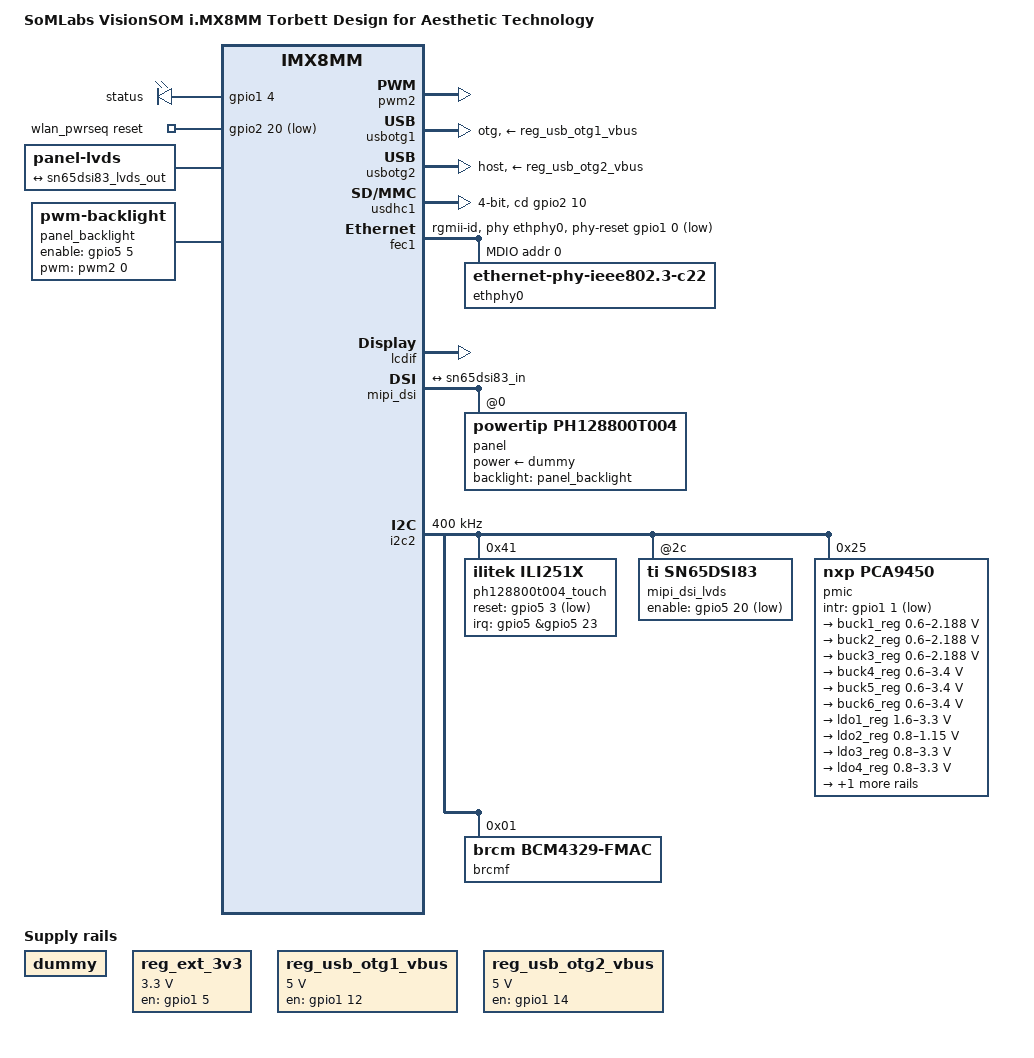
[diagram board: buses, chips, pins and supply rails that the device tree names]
// SPDX-License-Identifier: GPL-2.0-or-later
/*
 * Copyright 2020 SomLabs
 *
 */

/dts-v1/;

#include "imx8mm.dtsi"

/ {

    model = "SoMLabs VisionSOM i.MX8MM Torbett Design for Aesthetic Technology";

 /* dummy regulator for simple-panel driver */
    dummy: regulator-dummy {
        compatible = "regulator-fixed";
        regulator-name = "dummy";
        regulator-always-on;
    };

    reserved-memory {
        #address-cells = <2>;
        #size-cells = <2>;
        ranges;

        rpmsg_reserved: rpmsg@0xb8000000 {
            no-map;
            reg = <0 0xb8000000 0 0x400000>;
        };
    };

    chosen {
        bootargs = "console=ttymxc3,115200 earlycon=ec_imx6q,0x30a60000,115200";
        stdout-path = &uart4;
    };

    leds {      /* dedicated led for system status */
        compatible = "gpio-leds";
        pinctrl-names = "default";
        pinctrl-0 = <&pinctrl_gpio_led>;

        status {
            label = "status";
            gpios = <&gpio1 4 0>;
            linux,default-trigger = "heartbeat";
        };
    };

    wlan_pwrseq: wlanpwrseq {
        compatible = "mmc-pwrseq-simple";
        pinctrl-names = "default";
        pinctrl-0 = <&pinctrl_wlan_en>;
        reset-gpios = <&gpio2 20 GPIO_ACTIVE_LOW>;
    };

    regulators {
        compatible = "simple-bus";
        #address-cells = <1>;
        #size-cells = <0>;

        reg_ext_3v3: regulator-ext-3v3 {
            compatible = "regulator-fixed";
            regulator-name = "EXT_PWREN";
            regulator-min-microvolt = <3300000>;
            regulator-max-microvolt = <3300000>;
            enable-active-high;
            startup-delay-us = <300000>;
            gpio = <&gpio1 5 GPIO_ACTIVE_HIGH>;
        };

    };

    panel: panel {
		compatible = "panel-lvds";

		height-mm = <136>;
		width-mm = <217>;

		data-mapping = "vesa-24";

		panel-timing {
			clock-frequency = <75000000>;
			hactive = <1280>;
			vactive = <800>;
			hback-porch = <40>;
			hfront-porch = <40>;
			hsync-len = <48>;
			vback-porch = <29>;
			vfront-porch = <13>;
			vsync-len = <3>;
		};

        port {
            lvds_panel_in: endpoint {
                remote-endpoint = <&sn65dsi83_lvds_out>;
            };
        };
    };

    reg_usb_otg1_vbus: regulator@2 {
        compatible = "regulator-fixed";
        pinctrl-names = "default";
        pinctrl-0 = <&pinctrl_usb_otg1>;
        regulator-name = "usb_otg1_vbus";
        regulator-min-microvolt = <5000000>;
        regulator-max-microvolt = <5000000>;
        gpio = <&gpio1 12 GPIO_ACTIVE_HIGH>;
        enable-active-high;
    };

    reg_usb_otg2_vbus: regulator@3 {
        compatible = "regulator-fixed";
        pinctrl-names = "default";
        pinctrl-0 = <&pinctrl_usb_otg2>;
        regulator-name = "usb_otg2_vbus";
        regulator-min-microvolt = <5000000>;
        regulator-max-microvolt = <5000000>;
        gpio = <&gpio1 14 GPIO_ACTIVE_HIGH>;
        enable-active-high;
    };

    panel_backlight: panel-backlight {
        compatible = "pwm-backlight";
        pinctrl-names = "default";
        pinctrl-0 = <&pinctrl_panel_backlight_en>;
        pwms = <&pwm2 0 25000 0>;

        brightness-levels = < 0  1  2  3  4  5  6  7  8  9
                             10 11 12 13 14 15 16 17 18 19
                             20 21 22 23 24 25 26 27 28 29
                             30 31 32 33 34 35 36 37 38 39
                             40 41 42 43 44 45 46 47 48 49
                             50 51 52 53 54 55 56 57 58 59
                             60 61 62 63 64 65 66 67 68 69
                             70 71 72 73 74 75 76 77 78 79
                             80 81 82 83 84 85 86 87 88 89
                             90 91 92 93 94 95 96 97 98 99
                             100>;
        default-brightness-level = <80>;

        enable-gpios = <&gpio5 5 0>;
    };

};

&pwm2 {
    pinctrl-names = "default";
    pinctrl-0 = <&pinctrl_panel_backlight_pwm>;
    status = "okay";
};


&iomuxc {

    pinctrl_mipi2lvds_std: mipi2lvds {
        fsl,pins = <
            MX8MM_IOMUXC_SAI3_RXFS_GPIO4_IO28       0x19        /* enable */
        >;
    };

  pinctrl_usb_otg1: usbotg1 {
        fsl,pins = <
            MX8MM_IOMUXC_GPIO1_IO12_GPIO1_IO12              0x19
            MX8MM_IOMUXC_GPIO1_IO13_GPIO1_IO13              0x1c4   /* overcurrent */
        >;
    };

    pinctrl_usb_otg2: usbotg2 {
        fsl,pins = <
            MX8MM_IOMUXC_GPIO1_IO14_GPIO1_IO14              0x19
            MX8MM_IOMUXC_GPIO1_IO15_GPIO1_IO15              0x1c4   /* overcurrent */
        >;
    };

    pinctrl_gpio_leds_cb: gpioledscb {          /* 4x LEDs on  carrier board */
        fsl,pins = <
            MX8MM_IOMUXC_SAI1_RXD2_GPIO4_IO4                0x19
            MX8MM_IOMUXC_SAI1_RXD3_GPIO4_IO5                0x19
            MX8MM_IOMUXC_SAI1_RXD4_GPIO4_IO6                0x19
            MX8MM_IOMUXC_SAI1_RXD5_GPIO4_IO7                0x19
        >;
    };

    pinctrl_gpio_buttons_cb: gpiobuttonscb {      /* 4x buttons on  carrier board */
        fsl,pins = <
            MX8MM_IOMUXC_SAI1_RXFS_GPIO4_IO0                0x19
            MX8MM_IOMUXC_SAI1_RXC_GPIO4_IO1                 0x19
            MX8MM_IOMUXC_SAI1_RXD0_GPIO4_IO2                0x19
            MX8MM_IOMUXC_SAI1_RXD1_GPIO4_IO3                0x19
        >;
    };

    pinctrl_fec1: fec1grp {                       /* ethernet phy */
        fsl,pins = <
            MX8MM_IOMUXC_ENET_MDC_ENET1_MDC                 0x3
            MX8MM_IOMUXC_ENET_MDIO_ENET1_MDIO               0x3
            MX8MM_IOMUXC_ENET_TD3_ENET1_RGMII_TD3           0x1f
            MX8MM_IOMUXC_ENET_TD2_ENET1_RGMII_TD2           0x1f
            MX8MM_IOMUXC_ENET_TD1_ENET1_RGMII_TD1           0x1f
            MX8MM_IOMUXC_ENET_TD0_ENET1_RGMII_TD0           0x1f
            MX8MM_IOMUXC_ENET_RD3_ENET1_RGMII_RD3           0x91
            MX8MM_IOMUXC_ENET_RD2_ENET1_RGMII_RD2           0x91
            MX8MM_IOMUXC_ENET_RD1_ENET1_RGMII_RD1           0x91
            MX8MM_IOMUXC_ENET_RD0_ENET1_RGMII_RD0           0x91
            MX8MM_IOMUXC_ENET_TXC_ENET1_RGMII_TXC           0x1f
            MX8MM_IOMUXC_ENET_RXC_ENET1_RGMII_RXC           0x91
            MX8MM_IOMUXC_ENET_RX_CTL_ENET1_RGMII_RX_CTL     0x91
            MX8MM_IOMUXC_ENET_TX_CTL_ENET1_RGMII_TX_CTL     0x1f
            MX8MM_IOMUXC_GPIO1_IO00_GPIO1_IO0               0x19    /* PHY reset */
        >;
    };

    pinctrl_usdhc1_gpio: usdhc1grpgpio {
        fsl,pins = <
            MX8MM_IOMUXC_SD1_RESET_B_GPIO2_IO10             0x84
            MX8MM_IOMUXC_GPIO1_IO03_GPIO1_IO3               0x41
        >;
    };

    pinctrl_usdhc1: usdhc1grp {
        fsl,pins = <
            MX8MM_IOMUXC_SD1_CLK_USDHC1_CLK                 0x96
            MX8MM_IOMUXC_SD1_CMD_USDHC1_CMD                 0xd6
            MX8MM_IOMUXC_SD1_DATA0_USDHC1_DATA0             0xd6
            MX8MM_IOMUXC_SD1_DATA1_USDHC1_DATA1             0xd6
            MX8MM_IOMUXC_SD1_DATA2_USDHC1_DATA2             0xd6
            MX8MM_IOMUXC_SD1_DATA3_USDHC1_DATA3             0xd6
        >;
    };

    pinctrl_usdhc1_100mhz: usdhc1grp100mhz {
        fsl,pins = <
            MX8MM_IOMUXC_SD1_CLK_USDHC1_CLK                 0x94
            MX8MM_IOMUXC_SD1_CMD_USDHC1_CMD                 0xd4
            MX8MM_IOMUXC_SD1_DATA0_USDHC1_DATA0             0xd4
            MX8MM_IOMUXC_SD1_DATA1_USDHC1_DATA1             0xd4
            MX8MM_IOMUXC_SD1_DATA2_USDHC1_DATA2             0xd4
            MX8MM_IOMUXC_SD1_DATA3_USDHC1_DATA3             0xd4
        >;
    };

    pinctrl_usdhc1_200mhz: usdhc1grp200mhz {
        fsl,pins = <
            MX8MM_IOMUXC_SD1_CLK_USDHC1_CLK                 0x96
            MX8MM_IOMUXC_SD1_CMD_USDHC1_CMD                 0xd6
            MX8MM_IOMUXC_SD1_DATA0_USDHC1_DATA0             0xd6
            MX8MM_IOMUXC_SD1_DATA1_USDHC1_DATA1             0xd6
            MX8MM_IOMUXC_SD1_DATA2_USDHC1_DATA2             0xd6
            MX8MM_IOMUXC_SD1_DATA3_USDHC1_DATA3             0xd6
        >;
    };

    pinctrl_i2c1: i2c1grp {
        fsl,pins = <
            MX8MM_IOMUXC_I2C1_SCL_I2C1_SCL                  0x40000083
            MX8MM_IOMUXC_I2C1_SDA_I2C1_SDA                  0x40000083
        >;
        };

    pinctrl_i2c2: i2c2grp {
        fsl,pins = <
            MX8MM_IOMUXC_I2C2_SCL_I2C2_SCL                  0x40000083
            MX8MM_IOMUXC_I2C2_SDA_I2C2_SDA                  0x40000083
        >;
    };

    pinctrl_i2c2_gpio: i2c2grp-gpio {
        fsl,pins = <
            MX8MM_IOMUXC_I2C2_SCL_GPIO5_IO16                0x083
            MX8MM_IOMUXC_I2C2_SDA_GPIO5_IO17                0x083
        >;
   };

      pinctrl_gpio_led: gpioledgrp {          /* dedicated sys-led output */
        fsl,pins = <
            MX8MM_IOMUXC_GPIO1_IO04_GPIO1_IO4       0x19
        >;
    };

    pinctrl_i2c4: i2c4grp {                 /* PMIC I2C */
        fsl,pins = <
            MX8MM_IOMUXC_I2C4_SCL_I2C4_SCL          0x400000c3
            MX8MM_IOMUXC_I2C4_SDA_I2C4_SDA          0x400000c3
        >;
    };

    pinctrl_i2c4_gpio: i2c4grp-gpio {       /* PMIC I2C in GPIO mode */
        fsl,pins = <
            MX8MM_IOMUXC_I2C4_SCL_GPIO5_IO20        0xc3
            MX8MM_IOMUXC_I2C4_SDA_GPIO5_IO21        0xc3
        >;
    };

    pinctrl_pmic: pmicirq {                 /* PMIC interrupt */
        fsl,pins = <
            MX8MM_IOMUXC_GPIO1_IO01_GPIO1_IO1       0x141
        >;
    };

    pinctrl_uart2: uart2grp {
        fsl,pins = <
            MX8MM_IOMUXC_UART2_RXD_UART2_DCE_RX     0
            MX8MM_IOMUXC_UART2_TXD_UART2_DCE_TX     0
        >;
    };

    pinctrl_uart4: uart4grp {
        fsl,pins = <
            MX8MM_IOMUXC_UART4_RXD_UART4_DCE_RX     0
            MX8MM_IOMUXC_UART4_TXD_UART4_DCE_TX     0
        >;
    };

    pinctrl_wlan_en: wlanen {               /* WLAN enable */
        fsl,pins = <
            MX8MM_IOMUXC_SD2_WP_GPIO2_IO20          0x100
        >;
    };

    pinctrl_usdhc2: usdhc2grp {             /* WLAN - USDHC2 */
        fsl,pins = <
            MX8MM_IOMUXC_SD2_CLK_USDHC2_CLK         0x190
            MX8MM_IOMUXC_SD2_CMD_USDHC2_CMD         0x1d0
            MX8MM_IOMUXC_SD2_DATA0_USDHC2_DATA0     0x1d0
            MX8MM_IOMUXC_SD2_DATA1_USDHC2_DATA1     0x1d0
            MX8MM_IOMUXC_SD2_DATA2_USDHC2_DATA2     0x1d0
            MX8MM_IOMUXC_SD2_DATA3_USDHC2_DATA3     0x1d0
        >;
    };

    pinctrl_usdhc2_100mhz: usdhc2grp100mhz {
        fsl,pins = <
            MX8MM_IOMUXC_SD2_CLK_USDHC2_CLK         0x194
            MX8MM_IOMUXC_SD2_CMD_USDHC2_CMD         0x1d4
            MX8MM_IOMUXC_SD2_DATA0_USDHC2_DATA0     0x1d4
            MX8MM_IOMUXC_SD2_DATA1_USDHC2_DATA1     0x1d4
            MX8MM_IOMUXC_SD2_DATA2_USDHC2_DATA2     0x1d4
            MX8MM_IOMUXC_SD2_DATA3_USDHC2_DATA3     0x1d4
        >;
    };

    pinctrl_usdhc2_200mhz: usdhc2grp200mhz {
        fsl,pins = <
            MX8MM_IOMUXC_SD2_CLK_USDHC2_CLK         0x196
            MX8MM_IOMUXC_SD2_CMD_USDHC2_CMD         0x1d6
            MX8MM_IOMUXC_SD2_DATA0_USDHC2_DATA0     0x1d6
            MX8MM_IOMUXC_SD2_DATA1_USDHC2_DATA1     0x1d6
            MX8MM_IOMUXC_SD2_DATA2_USDHC2_DATA2     0x1d6
            MX8MM_IOMUXC_SD2_DATA3_USDHC2_DATA3     0x1d6
        >;
    };

    pinctrl_wlan_hwake: wlanhwake {
        fsl,pins = <
            MX8MM_IOMUXC_SD2_CD_B_GPIO2_IO12        0x111
        >;
    };

    pinctrl_usdhc3: usdhc3grp {             /* USDHC3 - internal uSD/eMMC */
        fsl,pins = <
            MX8MM_IOMUXC_NAND_WE_B_USDHC3_CLK       0x190
            MX8MM_IOMUXC_NAND_WP_B_USDHC3_CMD       0x1d0
            MX8MM_IOMUXC_NAND_DATA04_USDHC3_DATA0   0x1d0
            MX8MM_IOMUXC_NAND_DATA05_USDHC3_DATA1   0x1d0
            MX8MM_IOMUXC_NAND_DATA06_USDHC3_DATA2   0x1d0
            MX8MM_IOMUXC_NAND_DATA07_USDHC3_DATA3   0x1d0
            MX8MM_IOMUXC_NAND_RE_B_USDHC3_DATA4     0x1d0
            MX8MM_IOMUXC_NAND_CE2_B_USDHC3_DATA5    0x1d0
            MX8MM_IOMUXC_NAND_CE3_B_USDHC3_DATA6    0x1d0
            MX8MM_IOMUXC_NAND_CLE_USDHC3_DATA7      0x1d0
            MX8MM_IOMUXC_NAND_CE1_B_USDHC3_STROBE   0x190

        >;
    };

    pinctrl_usdhc3_100mhz: usdhc3grp100mhz {
        fsl,pins = <
            MX8MM_IOMUXC_NAND_WE_B_USDHC3_CLK       0x194
            MX8MM_IOMUXC_NAND_WP_B_USDHC3_CMD       0x1d4
            MX8MM_IOMUXC_NAND_DATA04_USDHC3_DATA0   0x1d4
            MX8MM_IOMUXC_NAND_DATA05_USDHC3_DATA1   0x1d4
            MX8MM_IOMUXC_NAND_DATA06_USDHC3_DATA2   0x1d4
            MX8MM_IOMUXC_NAND_DATA07_USDHC3_DATA3   0x1d4
            MX8MM_IOMUXC_NAND_RE_B_USDHC3_DATA4     0x1d0
            MX8MM_IOMUXC_NAND_CE2_B_USDHC3_DATA5    0x1d0
            MX8MM_IOMUXC_NAND_CE3_B_USDHC3_DATA6    0x1d0
            MX8MM_IOMUXC_NAND_CLE_USDHC3_DATA7      0x1d0
            MX8MM_IOMUXC_NAND_CE1_B_USDHC3_STROBE   0x190
        >;
    };

    pinctrl_usdhc3_200mhz: usdhc3grp200mhz {
        fsl,pins = <
            MX8MM_IOMUXC_NAND_WE_B_USDHC3_CLK       0x196
            MX8MM_IOMUXC_NAND_WP_B_USDHC3_CMD       0x1d6
            MX8MM_IOMUXC_NAND_DATA04_USDHC3_DATA0   0x1d6
            MX8MM_IOMUXC_NAND_DATA05_USDHC3_DATA1   0x1d6
            MX8MM_IOMUXC_NAND_DATA06_USDHC3_DATA2   0x1d6
            MX8MM_IOMUXC_NAND_DATA07_USDHC3_DATA3   0x1d6
            MX8MM_IOMUXC_NAND_RE_B_USDHC3_DATA4     0x1d0
            MX8MM_IOMUXC_NAND_CE2_B_USDHC3_DATA5    0x1d0
            MX8MM_IOMUXC_NAND_CE3_B_USDHC3_DATA6    0x1d0
            MX8MM_IOMUXC_NAND_CLE_USDHC3_DATA7      0x1d0
            MX8MM_IOMUXC_NAND_CE1_B_USDHC3_STROBE   0x190
        >;
    };

    pinctrl_wdog: wdoggrp {
        fsl,pins = <
            MX8MM_IOMUXC_GPIO1_IO02_WDOG1_WDOG_B    0xc6
        >;
    };

    pinctrl_panel_backlight_en: panel_backlight_en {
        fsl,pins = <
            MX8MM_IOMUXC_SPDIF_EXT_CLK_GPIO5_IO5            0x19
        >;
    };

    pinctrl_panel_backlight_pwm: panel_backlight_pwm {
        fsl,pins = <
            MX8MM_IOMUXC_SPDIF_RX_PWM2_OUT                  0x19
        >;
    };

    pinctrl_touch: touchgpio {
        fsl,pins = <
            MX8MM_IOMUXC_UART1_TXD_GPIO5_IO23               0x81    /* interrupt */
            MX8MM_IOMUXC_SPDIF_TX_GPIO5_IO3                 0x19    /* reset */
        >;
    };

};



&usbotg1 {
    dr_mode = "otg";
    vbus-supply = <&reg_usb_otg1_vbus>;
    picophy,pre-emp-curr-control = <3>;
    picophy,dc-vol-level-adjust = <7>;
    status = "okay";
};

&usbotg2 {
    dr_mode = "host";
    vbus-supply = <&reg_usb_otg2_vbus>;
    picophy,pre-emp-curr-control = <3>;
    picophy,dc-vol-level-adjust = <7>;
    status = "okay";
};


&usdhc1 {           /* uSD slot */
    pinctrl-names = "default", "state_100mhz", "state_200mhz";
    pinctrl-0 = <&pinctrl_usdhc1>, <&pinctrl_usdhc1_gpio>;
    pinctrl-1 = <&pinctrl_usdhc1_100mhz>, <&pinctrl_usdhc1_gpio>;
    pinctrl-2 = <&pinctrl_usdhc1_200mhz>, <&pinctrl_usdhc1_gpio>;
    fsl,delay-line = <8>;
    bus-width = <4>;
    no-1-8-v;
    cd-gpios = <&gpio2 10 GPIO_ACTIVE_HIGH>;
    status = "okay";
};

&fec1 {
    pinctrl-names = "default";
    pinctrl-0 = <&pinctrl_fec1>;
    phy-mode = "rgmii-id";
    phy-handle = <&ethphy0>;
    phy-reset-gpios = <&gpio1 0 0>; /* GPIO1_0 */
    fsl,magic-packet;
    status = "okay";

    mdio {
        #address-cells = <1>;
        #size-cells = <0>;

        ethphy0: ethernet-phy@0 {
            compatible = "ethernet-phy-ieee802.3-c22";
            reg = <0>;
        };
    };
};

&lcdif {
    status = "okay";
};

&mipi_dsi {
    status = "okay";
    
    panel@0 {
        pinctrl-names = "default";
        compatible = "powertip,ph128800t004";
        power-supply = <&dummy>;
        reg = <0>;
        backlight = <&panel_backlight>;
        status = "okay";
    };
    
    port@1 {
        mipi_dsi_out: endpoint {
            remote-endpoint = <&sn65dsi83_in>;
            attach-bridge;
        };
    };
};


&i2c2 {
    
    
    clock-frequency = <400000>;
//    pinctrl-names = "default";
//    pinctrl-0 = <&pinctrl_i2c2>;
//    pinctrl-1 = <&pinctrl_i2c2_gpio>;
//    scl-gpios = <&gpio5 16 GPIO_ACTIVE_HIGH>;
//    sda-gpios = <&gpio5 17 GPIO_ACTIVE_HIGH>;
    status = "okay";


    ph128800t004_touch: ilitek-ili251x@41 {
        compatible = "ilitek,ili251x";
        reg = <0x41>;
        pinctrl-names = "default";
        pinctrl-0 = <&pinctrl_touch>;
        interrupt-parent = <&gpio5>;
        interrupts = <&gpio5 23 IRQ_TYPE_EDGE_FALLING>;
        reset-gpios = <&gpio5 3 GPIO_ACTIVE_LOW>;
        touchscreen-size-x = <16384>;
        touchscreen-size-y = <9600>;
    };

    /* MIPI-DSI to LVDS adapter */
    mipi_dsi_lvds: sn65dsi83@2c {
        compatible = "ti,sn65dsi83";
        pinctrl-names = "default";
        pinctrl-0 = <&pinctrl_mipi2lvds_std>;


        enable-gpios = <&gpio5 22 GPIO_ACTIVE_HIGH>;
        	compatible = "ti,sn65dsi83";

		ti,dsi-lanes = <4>;
		ti,lvds-format = <2>;
		ti,lvds-bpp = <24>;
		ti,width-mm = <217>;
		ti,height-mm = <136>;
		enable-gpios = <&gpio5 20 GPIO_ACTIVE_LOW>;
		pinctrl-names = "default";
		pinctrl-0 = <&pinctrl_lvds>;
		status = "okay";

		display-timings {
			lvds {
				clock-frequency = <75000000>;
				hactive = <1280>;
				vactive = <800>;
				hback-porch = <40>;
				hfront-porch = <40>;
				vback-porch = <29>;
				vfront-porch = <13>;
				hsync-len = <48>;
				vsync-len = <3>;
				hsync-active = <0>;
				vsync-active = <0>;
				de-active = <0>;
				pixelclk-active = <0>;
			};
           

		};
};

&gpu {
    status = "okay";
}

&i2c4 {
    clock-frequency = <400000>;
    pinctrl-names = "default";
    pinctrl-0 = <&pinctrl_i2c4>;
    pinctrl-1 = <&pinctrl_i2c4_gpio>;
    scl-gpios = <&gpio5 20 GPIO_ACTIVE_HIGH>;
    sda-gpios = <&gpio5 21 GPIO_ACTIVE_HIGH>;
    status = "okay";

    pmic: pca9450@25 {
        reg = <0x25>;
        compatible = "nxp,pca9450";
        /* PMIC PCA9450 PMIC_nINT GPIO1_IO1 */
        pinctrl-0 = <&pinctrl_pmic>;
        gpio_intr = <&gpio1 1 GPIO_ACTIVE_LOW>;

        regulators {
            #address-cells = <1>;
            #size-cells = <0>;

            pca9450,pmic-buck2-uses-i2c-dvs;
            /* Run/Standby voltage */
            pca9450,pmic-buck2-dvs-voltage = <950000>, <850000>;

            buck1_reg: regulator@0 {
                reg = <0>;
                regulator-compatible = "buck1";
                regulator-min-microvolt = <600000>;
                regulator-max-microvolt = <2187500>;
                regulator-boot-on;
                regulator-always-on;
                regulator-ramp-delay = <3125>;
            };

            buck2_reg: regulator@1 {
                reg = <1>;
                regulator-compatible = "buck2";
                regulator-min-microvolt = <600000>;
                regulator-max-microvolt = <2187500>;
                regulator-boot-on;
                regulator-always-on;
                regulator-ramp-delay = <3125>;
            };

            buck3_reg: regulator@2 {
                reg = <2>;
                regulator-compatible = "buck3";
                regulator-min-microvolt = <600000>;
                regulator-max-microvolt = <2187500>;
                regulator-boot-on;
                regulator-always-on;
            };

            buck4_reg: regulator@3 {
                reg = <3>;
                regulator-compatible = "buck4";
                regulator-min-microvolt = <600000>;
                regulator-max-microvolt = <3400000>;
                regulator-boot-on;
                regulator-always-on;
            };

            buck5_reg: regulator@4 {
                reg = <4>;
                regulator-compatible = "buck5";
                regulator-min-microvolt = <600000>;
                regulator-max-microvolt = <3400000>;
                regulator-boot-on;
                regulator-always-on;
            };

            buck6_reg: regulator@5 {
                reg = <5>;
                regulator-compatible = "buck6";
                regulator-min-microvolt = <600000>;
                regulator-max-microvolt = <3400000>;
                regulator-boot-on;
                regulator-always-on;
            };

            ldo1_reg: regulator@6 {
                reg = <6>;
                regulator-compatible = "ldo1";
                regulator-min-microvolt = <1600000>;
                regulator-max-microvolt = <3300000>;
                regulator-boot-on;
                regulator-always-on;
            };

            ldo2_reg: regulator@7 {
                reg = <7>;
                regulator-compatible = "ldo2";
                regulator-min-microvolt = <800000>;
                regulator-max-microvolt = <1150000>;
                regulator-boot-on;
                regulator-always-on;
            };

            ldo3_reg: regulator@8 {
                reg = <8>;
                regulator-compatible = "ldo3";
                regulator-min-microvolt = <800000>;
                regulator-max-microvolt = <3300000>;
                regulator-boot-on;
                regulator-always-on;
            };

            ldo4_reg: regulator@9 {
                reg = <9>;
                regulator-compatible = "ldo4";
                regulator-min-microvolt = <800000>;
                regulator-max-microvolt = <3300000>;
                regulator-boot-on;
                regulator-always-on;
            };

            ldo5_reg: regulator@10 {
                reg = <10>;
                regulator-compatible = "ldo5";
                regulator-min-microvolt = <1800000>;
                regulator-max-microvolt = <3300000>;
            };
        };
    };
};

&mu {
    status = "okay";
};

&uart2 {
    pinctrl-names = "default";
    pinctrl-0 = <&pinctrl_uart2>;
    status = "okay";
};

&uart4 { /* console */
    pinctrl-names = "default";
    pinctrl-0 = <&pinctrl_uart4>;
    status = "okay";
};

&usdhc2 {           /* WLAN module */
    #address-cells = <1>;
    #size-cells = <0>;
    pinctrl-names = "default", "state_100mhz", "state_200mhz";
    pinctrl-0 = <&pinctrl_usdhc2>, <&pinctrl_wlan_hwake>;
    pinctrl-1 = <&pinctrl_usdhc2_100mhz>, <&pinctrl_wlan_hwake>;
    pinctrl-2 = <&pinctrl_usdhc2_200mhz>, <&pinctrl_wlan_hwake>;
    bus-width = <4>;
    pm-ignore-notify;
    keep-power-in-suspend;
    non-removable;
    status = "okay";
    cap-power-off-card;
    mmc-pwrseq = <&wlan_pwrseq>;

    brcmf: bcrmf@1 {
        reg = <1>;
        compatible = "brcm,bcm4329-fmac";
        //interrupt-parent = <&gpio2>;
        //interrupts = <12 IRQ_TYPE_LEVEL_HIGH>;
        //interrupt-names = "host-wake";
    };
};

/*
 *  Internal uSD/eMMC - by default configured for SD card.
 *  Reconfiguration for eMMC is done by u-boot based on boot source.
 *  Due to this, pinmux must be set for 8-bit mode
 *  'non-removable' is set even for SD card, because it is system device and it is expected
 *  not to be removed in run time.
 */
&usdhc3 {
    pinctrl-names = "default", "state_100mhz", "state_200mhz";
    pinctrl-0 = <&pinctrl_usdhc3>;
    pinctrl-1 = <&pinctrl_usdhc3_100mhz>;
    pinctrl-2 = <&pinctrl_usdhc3_200mhz>;
    bus-width = <4>;
    no-1-8-v;
    non-removable;
    status = "okay";
};

&wdog1 {
    pinctrl-names = "default";
    pinctrl-0 = <&pinctrl_wdog>;
    fsl,ext-reset-output;
    status = "okay";
};

&A53_0 {
    cpu-supply = <&buck2_reg>;
};

&gpu {
    status = "okay";
};

&vpu_g1 {
    status = "okay";
};

&vpu_g2 {
    status = "okay";
};

&vpu_h1 {
    status = "okay";
};

